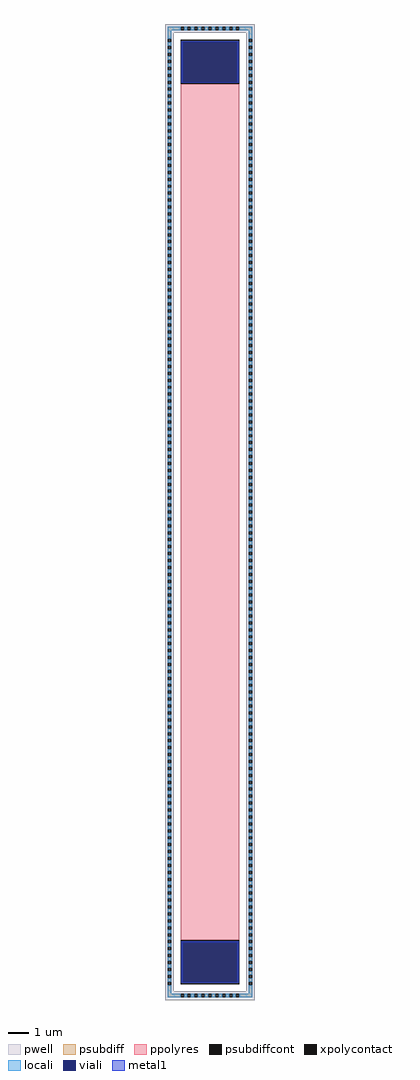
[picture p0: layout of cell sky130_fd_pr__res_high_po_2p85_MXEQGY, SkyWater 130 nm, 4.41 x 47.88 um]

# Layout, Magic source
magic
tech sky130A
magscale 1 2
<< pwell >>
rect -441 4702 441 4788
rect -441 -4702 -355 4702
rect 355 -4702 441 4702
rect -441 -4788 441 -4702
<< psubdiff >>
rect -415 4728 -289 4762
rect -255 4728 -221 4762
rect -187 4728 -153 4762
rect -119 4728 -85 4762
rect -51 4728 -17 4762
rect 17 4728 51 4762
rect 85 4728 119 4762
rect 153 4728 187 4762
rect 221 4728 255 4762
rect 289 4728 415 4762
rect -415 4641 -381 4728
rect 381 4641 415 4728
rect -415 4573 -381 4607
rect -415 4505 -381 4539
rect -415 4437 -381 4471
rect -415 4369 -381 4403
rect -415 4301 -381 4335
rect -415 4233 -381 4267
rect -415 4165 -381 4199
rect -415 4097 -381 4131
rect -415 4029 -381 4063
rect -415 3961 -381 3995
rect -415 3893 -381 3927
rect -415 3825 -381 3859
rect -415 3757 -381 3791
rect -415 3689 -381 3723
rect -415 3621 -381 3655
rect -415 3553 -381 3587
rect -415 3485 -381 3519
rect -415 3417 -381 3451
rect -415 3349 -381 3383
rect -415 3281 -381 3315
rect -415 3213 -381 3247
rect -415 3145 -381 3179
rect -415 3077 -381 3111
rect -415 3009 -381 3043
rect -415 2941 -381 2975
rect -415 2873 -381 2907
rect -415 2805 -381 2839
rect -415 2737 -381 2771
rect -415 2669 -381 2703
rect -415 2601 -381 2635
rect -415 2533 -381 2567
rect -415 2465 -381 2499
rect -415 2397 -381 2431
rect -415 2329 -381 2363
rect -415 2261 -381 2295
rect -415 2193 -381 2227
rect -415 2125 -381 2159
rect -415 2057 -381 2091
rect -415 1989 -381 2023
rect -415 1921 -381 1955
rect -415 1853 -381 1887
rect -415 1785 -381 1819
rect -415 1717 -381 1751
rect -415 1649 -381 1683
rect -415 1581 -381 1615
rect -415 1513 -381 1547
rect -415 1445 -381 1479
rect -415 1377 -381 1411
rect -415 1309 -381 1343
rect -415 1241 -381 1275
rect -415 1173 -381 1207
rect -415 1105 -381 1139
rect -415 1037 -381 1071
rect -415 969 -381 1003
rect -415 901 -381 935
rect -415 833 -381 867
rect -415 765 -381 799
rect -415 697 -381 731
rect -415 629 -381 663
rect -415 561 -381 595
rect -415 493 -381 527
rect -415 425 -381 459
rect -415 357 -381 391
rect -415 289 -381 323
rect -415 221 -381 255
rect -415 153 -381 187
rect -415 85 -381 119
rect -415 17 -381 51
rect -415 -51 -381 -17
rect -415 -119 -381 -85
rect -415 -187 -381 -153
rect -415 -255 -381 -221
rect -415 -323 -381 -289
rect -415 -391 -381 -357
rect -415 -459 -381 -425
rect -415 -527 -381 -493
rect -415 -595 -381 -561
rect -415 -663 -381 -629
rect -415 -731 -381 -697
rect -415 -799 -381 -765
rect -415 -867 -381 -833
rect -415 -935 -381 -901
rect -415 -1003 -381 -969
rect -415 -1071 -381 -1037
rect -415 -1139 -381 -1105
rect -415 -1207 -381 -1173
rect -415 -1275 -381 -1241
rect -415 -1343 -381 -1309
rect -415 -1411 -381 -1377
rect -415 -1479 -381 -1445
rect -415 -1547 -381 -1513
rect -415 -1615 -381 -1581
rect -415 -1683 -381 -1649
rect -415 -1751 -381 -1717
rect -415 -1819 -381 -1785
rect -415 -1887 -381 -1853
rect -415 -1955 -381 -1921
rect -415 -2023 -381 -1989
rect -415 -2091 -381 -2057
rect -415 -2159 -381 -2125
rect -415 -2227 -381 -2193
rect -415 -2295 -381 -2261
rect -415 -2363 -381 -2329
rect -415 -2431 -381 -2397
rect -415 -2499 -381 -2465
rect -415 -2567 -381 -2533
rect -415 -2635 -381 -2601
rect -415 -2703 -381 -2669
rect -415 -2771 -381 -2737
rect -415 -2839 -381 -2805
rect -415 -2907 -381 -2873
rect -415 -2975 -381 -2941
rect -415 -3043 -381 -3009
rect -415 -3111 -381 -3077
rect -415 -3179 -381 -3145
rect -415 -3247 -381 -3213
rect -415 -3315 -381 -3281
rect -415 -3383 -381 -3349
rect -415 -3451 -381 -3417
rect -415 -3519 -381 -3485
rect -415 -3587 -381 -3553
rect -415 -3655 -381 -3621
rect -415 -3723 -381 -3689
rect -415 -3791 -381 -3757
rect -415 -3859 -381 -3825
rect -415 -3927 -381 -3893
rect -415 -3995 -381 -3961
rect -415 -4063 -381 -4029
rect -415 -4131 -381 -4097
rect -415 -4199 -381 -4165
rect -415 -4267 -381 -4233
rect -415 -4335 -381 -4301
rect -415 -4403 -381 -4369
rect -415 -4471 -381 -4437
rect -415 -4539 -381 -4505
rect -415 -4607 -381 -4573
rect 381 4573 415 4607
rect 381 4505 415 4539
rect 381 4437 415 4471
rect 381 4369 415 4403
rect 381 4301 415 4335
rect 381 4233 415 4267
rect 381 4165 415 4199
rect 381 4097 415 4131
rect 381 4029 415 4063
rect 381 3961 415 3995
rect 381 3893 415 3927
rect 381 3825 415 3859
rect 381 3757 415 3791
rect 381 3689 415 3723
rect 381 3621 415 3655
rect 381 3553 415 3587
rect 381 3485 415 3519
rect 381 3417 415 3451
rect 381 3349 415 3383
rect 381 3281 415 3315
rect 381 3213 415 3247
rect 381 3145 415 3179
rect 381 3077 415 3111
rect 381 3009 415 3043
rect 381 2941 415 2975
rect 381 2873 415 2907
rect 381 2805 415 2839
rect 381 2737 415 2771
rect 381 2669 415 2703
rect 381 2601 415 2635
rect 381 2533 415 2567
rect 381 2465 415 2499
rect 381 2397 415 2431
rect 381 2329 415 2363
rect 381 2261 415 2295
rect 381 2193 415 2227
rect 381 2125 415 2159
rect 381 2057 415 2091
rect 381 1989 415 2023
rect 381 1921 415 1955
rect 381 1853 415 1887
rect 381 1785 415 1819
rect 381 1717 415 1751
rect 381 1649 415 1683
rect 381 1581 415 1615
rect 381 1513 415 1547
rect 381 1445 415 1479
rect 381 1377 415 1411
rect 381 1309 415 1343
rect 381 1241 415 1275
rect 381 1173 415 1207
rect 381 1105 415 1139
rect 381 1037 415 1071
rect 381 969 415 1003
rect 381 901 415 935
rect 381 833 415 867
rect 381 765 415 799
rect 381 697 415 731
rect 381 629 415 663
rect 381 561 415 595
rect 381 493 415 527
rect 381 425 415 459
rect 381 357 415 391
rect 381 289 415 323
rect 381 221 415 255
rect 381 153 415 187
rect 381 85 415 119
rect 381 17 415 51
rect 381 -51 415 -17
rect 381 -119 415 -85
rect 381 -187 415 -153
rect 381 -255 415 -221
rect 381 -323 415 -289
rect 381 -391 415 -357
rect 381 -459 415 -425
rect 381 -527 415 -493
rect 381 -595 415 -561
rect 381 -663 415 -629
rect 381 -731 415 -697
rect 381 -799 415 -765
rect 381 -867 415 -833
rect 381 -935 415 -901
rect 381 -1003 415 -969
rect 381 -1071 415 -1037
rect 381 -1139 415 -1105
rect 381 -1207 415 -1173
rect 381 -1275 415 -1241
rect 381 -1343 415 -1309
rect 381 -1411 415 -1377
rect 381 -1479 415 -1445
rect 381 -1547 415 -1513
rect 381 -1615 415 -1581
rect 381 -1683 415 -1649
rect 381 -1751 415 -1717
rect 381 -1819 415 -1785
rect 381 -1887 415 -1853
rect 381 -1955 415 -1921
rect 381 -2023 415 -1989
rect 381 -2091 415 -2057
rect 381 -2159 415 -2125
rect 381 -2227 415 -2193
rect 381 -2295 415 -2261
rect 381 -2363 415 -2329
rect 381 -2431 415 -2397
rect 381 -2499 415 -2465
rect 381 -2567 415 -2533
rect 381 -2635 415 -2601
rect 381 -2703 415 -2669
rect 381 -2771 415 -2737
rect 381 -2839 415 -2805
rect 381 -2907 415 -2873
rect 381 -2975 415 -2941
rect 381 -3043 415 -3009
rect 381 -3111 415 -3077
rect 381 -3179 415 -3145
rect 381 -3247 415 -3213
rect 381 -3315 415 -3281
rect 381 -3383 415 -3349
rect 381 -3451 415 -3417
rect 381 -3519 415 -3485
rect 381 -3587 415 -3553
rect 381 -3655 415 -3621
rect 381 -3723 415 -3689
rect 381 -3791 415 -3757
rect 381 -3859 415 -3825
rect 381 -3927 415 -3893
rect 381 -3995 415 -3961
rect 381 -4063 415 -4029
rect 381 -4131 415 -4097
rect 381 -4199 415 -4165
rect 381 -4267 415 -4233
rect 381 -4335 415 -4301
rect 381 -4403 415 -4369
rect 381 -4471 415 -4437
rect 381 -4539 415 -4505
rect 381 -4607 415 -4573
rect -415 -4728 -381 -4641
rect 381 -4728 415 -4641
rect -415 -4762 -289 -4728
rect -255 -4762 -221 -4728
rect -187 -4762 -153 -4728
rect -119 -4762 -85 -4728
rect -51 -4762 -17 -4728
rect 17 -4762 51 -4728
rect 85 -4762 119 -4728
rect 153 -4762 187 -4728
rect 221 -4762 255 -4728
rect 289 -4762 415 -4728
<< psubdiffcont >>
rect -289 4728 -255 4762
rect -221 4728 -187 4762
rect -153 4728 -119 4762
rect -85 4728 -51 4762
rect -17 4728 17 4762
rect 51 4728 85 4762
rect 119 4728 153 4762
rect 187 4728 221 4762
rect 255 4728 289 4762
rect -415 4607 -381 4641
rect -415 4539 -381 4573
rect -415 4471 -381 4505
rect -415 4403 -381 4437
rect -415 4335 -381 4369
rect -415 4267 -381 4301
rect -415 4199 -381 4233
rect -415 4131 -381 4165
rect -415 4063 -381 4097
rect -415 3995 -381 4029
rect -415 3927 -381 3961
rect -415 3859 -381 3893
rect -415 3791 -381 3825
rect -415 3723 -381 3757
rect -415 3655 -381 3689
rect -415 3587 -381 3621
rect -415 3519 -381 3553
rect -415 3451 -381 3485
rect -415 3383 -381 3417
rect -415 3315 -381 3349
rect -415 3247 -381 3281
rect -415 3179 -381 3213
rect -415 3111 -381 3145
rect -415 3043 -381 3077
rect -415 2975 -381 3009
rect -415 2907 -381 2941
rect -415 2839 -381 2873
rect -415 2771 -381 2805
rect -415 2703 -381 2737
rect -415 2635 -381 2669
rect -415 2567 -381 2601
rect -415 2499 -381 2533
rect -415 2431 -381 2465
rect -415 2363 -381 2397
rect -415 2295 -381 2329
rect -415 2227 -381 2261
rect -415 2159 -381 2193
rect -415 2091 -381 2125
rect -415 2023 -381 2057
rect -415 1955 -381 1989
rect -415 1887 -381 1921
rect -415 1819 -381 1853
rect -415 1751 -381 1785
rect -415 1683 -381 1717
rect -415 1615 -381 1649
rect -415 1547 -381 1581
rect -415 1479 -381 1513
rect -415 1411 -381 1445
rect -415 1343 -381 1377
rect -415 1275 -381 1309
rect -415 1207 -381 1241
rect -415 1139 -381 1173
rect -415 1071 -381 1105
rect -415 1003 -381 1037
rect -415 935 -381 969
rect -415 867 -381 901
rect -415 799 -381 833
rect -415 731 -381 765
rect -415 663 -381 697
rect -415 595 -381 629
rect -415 527 -381 561
rect -415 459 -381 493
rect -415 391 -381 425
rect -415 323 -381 357
rect -415 255 -381 289
rect -415 187 -381 221
rect -415 119 -381 153
rect -415 51 -381 85
rect -415 -17 -381 17
rect -415 -85 -381 -51
rect -415 -153 -381 -119
rect -415 -221 -381 -187
rect -415 -289 -381 -255
rect -415 -357 -381 -323
rect -415 -425 -381 -391
rect -415 -493 -381 -459
rect -415 -561 -381 -527
rect -415 -629 -381 -595
rect -415 -697 -381 -663
rect -415 -765 -381 -731
rect -415 -833 -381 -799
rect -415 -901 -381 -867
rect -415 -969 -381 -935
rect -415 -1037 -381 -1003
rect -415 -1105 -381 -1071
rect -415 -1173 -381 -1139
rect -415 -1241 -381 -1207
rect -415 -1309 -381 -1275
rect -415 -1377 -381 -1343
rect -415 -1445 -381 -1411
rect -415 -1513 -381 -1479
rect -415 -1581 -381 -1547
rect -415 -1649 -381 -1615
rect -415 -1717 -381 -1683
rect -415 -1785 -381 -1751
rect -415 -1853 -381 -1819
rect -415 -1921 -381 -1887
rect -415 -1989 -381 -1955
rect -415 -2057 -381 -2023
rect -415 -2125 -381 -2091
rect -415 -2193 -381 -2159
rect -415 -2261 -381 -2227
rect -415 -2329 -381 -2295
rect -415 -2397 -381 -2363
rect -415 -2465 -381 -2431
rect -415 -2533 -381 -2499
rect -415 -2601 -381 -2567
rect -415 -2669 -381 -2635
rect -415 -2737 -381 -2703
rect -415 -2805 -381 -2771
rect -415 -2873 -381 -2839
rect -415 -2941 -381 -2907
rect -415 -3009 -381 -2975
rect -415 -3077 -381 -3043
rect -415 -3145 -381 -3111
rect -415 -3213 -381 -3179
rect -415 -3281 -381 -3247
rect -415 -3349 -381 -3315
rect -415 -3417 -381 -3383
rect -415 -3485 -381 -3451
rect -415 -3553 -381 -3519
rect -415 -3621 -381 -3587
rect -415 -3689 -381 -3655
rect -415 -3757 -381 -3723
rect -415 -3825 -381 -3791
rect -415 -3893 -381 -3859
rect -415 -3961 -381 -3927
rect -415 -4029 -381 -3995
rect -415 -4097 -381 -4063
rect -415 -4165 -381 -4131
rect -415 -4233 -381 -4199
rect -415 -4301 -381 -4267
rect -415 -4369 -381 -4335
rect -415 -4437 -381 -4403
rect -415 -4505 -381 -4471
rect -415 -4573 -381 -4539
rect -415 -4641 -381 -4607
rect 381 4607 415 4641
rect 381 4539 415 4573
rect 381 4471 415 4505
rect 381 4403 415 4437
rect 381 4335 415 4369
rect 381 4267 415 4301
rect 381 4199 415 4233
rect 381 4131 415 4165
rect 381 4063 415 4097
rect 381 3995 415 4029
rect 381 3927 415 3961
rect 381 3859 415 3893
rect 381 3791 415 3825
rect 381 3723 415 3757
rect 381 3655 415 3689
rect 381 3587 415 3621
rect 381 3519 415 3553
rect 381 3451 415 3485
rect 381 3383 415 3417
rect 381 3315 415 3349
rect 381 3247 415 3281
rect 381 3179 415 3213
rect 381 3111 415 3145
rect 381 3043 415 3077
rect 381 2975 415 3009
rect 381 2907 415 2941
rect 381 2839 415 2873
rect 381 2771 415 2805
rect 381 2703 415 2737
rect 381 2635 415 2669
rect 381 2567 415 2601
rect 381 2499 415 2533
rect 381 2431 415 2465
rect 381 2363 415 2397
rect 381 2295 415 2329
rect 381 2227 415 2261
rect 381 2159 415 2193
rect 381 2091 415 2125
rect 381 2023 415 2057
rect 381 1955 415 1989
rect 381 1887 415 1921
rect 381 1819 415 1853
rect 381 1751 415 1785
rect 381 1683 415 1717
rect 381 1615 415 1649
rect 381 1547 415 1581
rect 381 1479 415 1513
rect 381 1411 415 1445
rect 381 1343 415 1377
rect 381 1275 415 1309
rect 381 1207 415 1241
rect 381 1139 415 1173
rect 381 1071 415 1105
rect 381 1003 415 1037
rect 381 935 415 969
rect 381 867 415 901
rect 381 799 415 833
rect 381 731 415 765
rect 381 663 415 697
rect 381 595 415 629
rect 381 527 415 561
rect 381 459 415 493
rect 381 391 415 425
rect 381 323 415 357
rect 381 255 415 289
rect 381 187 415 221
rect 381 119 415 153
rect 381 51 415 85
rect 381 -17 415 17
rect 381 -85 415 -51
rect 381 -153 415 -119
rect 381 -221 415 -187
rect 381 -289 415 -255
rect 381 -357 415 -323
rect 381 -425 415 -391
rect 381 -493 415 -459
rect 381 -561 415 -527
rect 381 -629 415 -595
rect 381 -697 415 -663
rect 381 -765 415 -731
rect 381 -833 415 -799
rect 381 -901 415 -867
rect 381 -969 415 -935
rect 381 -1037 415 -1003
rect 381 -1105 415 -1071
rect 381 -1173 415 -1139
rect 381 -1241 415 -1207
rect 381 -1309 415 -1275
rect 381 -1377 415 -1343
rect 381 -1445 415 -1411
rect 381 -1513 415 -1479
rect 381 -1581 415 -1547
rect 381 -1649 415 -1615
rect 381 -1717 415 -1683
rect 381 -1785 415 -1751
rect 381 -1853 415 -1819
rect 381 -1921 415 -1887
rect 381 -1989 415 -1955
rect 381 -2057 415 -2023
rect 381 -2125 415 -2091
rect 381 -2193 415 -2159
rect 381 -2261 415 -2227
rect 381 -2329 415 -2295
rect 381 -2397 415 -2363
rect 381 -2465 415 -2431
rect 381 -2533 415 -2499
rect 381 -2601 415 -2567
rect 381 -2669 415 -2635
rect 381 -2737 415 -2703
rect 381 -2805 415 -2771
rect 381 -2873 415 -2839
rect 381 -2941 415 -2907
rect 381 -3009 415 -2975
rect 381 -3077 415 -3043
rect 381 -3145 415 -3111
rect 381 -3213 415 -3179
rect 381 -3281 415 -3247
rect 381 -3349 415 -3315
rect 381 -3417 415 -3383
rect 381 -3485 415 -3451
rect 381 -3553 415 -3519
rect 381 -3621 415 -3587
rect 381 -3689 415 -3655
rect 381 -3757 415 -3723
rect 381 -3825 415 -3791
rect 381 -3893 415 -3859
rect 381 -3961 415 -3927
rect 381 -4029 415 -3995
rect 381 -4097 415 -4063
rect 381 -4165 415 -4131
rect 381 -4233 415 -4199
rect 381 -4301 415 -4267
rect 381 -4369 415 -4335
rect 381 -4437 415 -4403
rect 381 -4505 415 -4471
rect 381 -4573 415 -4539
rect 381 -4641 415 -4607
rect -289 -4762 -255 -4728
rect -221 -4762 -187 -4728
rect -153 -4762 -119 -4728
rect -85 -4762 -51 -4728
rect -17 -4762 17 -4728
rect 51 -4762 85 -4728
rect 119 -4762 153 -4728
rect 187 -4762 221 -4728
rect 255 -4762 289 -4728
<< xpolycontact >>
rect -285 4200 285 4632
rect -285 -4632 285 -4200
<< ppolyres >>
rect -285 -4200 285 4200
<< locali >>
rect -415 4728 -289 4762
rect -255 4728 -221 4762
rect -187 4728 -153 4762
rect -119 4728 -85 4762
rect -51 4728 -17 4762
rect 17 4728 51 4762
rect 85 4728 119 4762
rect 153 4728 187 4762
rect 221 4728 255 4762
rect 289 4728 415 4762
rect -415 4641 -381 4728
rect 381 4641 415 4728
rect -415 4573 -381 4607
rect -415 4505 -381 4539
rect -415 4437 -381 4471
rect -415 4369 -381 4403
rect -415 4301 -381 4335
rect -415 4233 -381 4267
rect 381 4573 415 4607
rect 381 4505 415 4539
rect 381 4437 415 4471
rect 381 4369 415 4403
rect 381 4301 415 4335
rect 381 4233 415 4267
rect -415 4165 -381 4199
rect -415 4097 -381 4131
rect -415 4029 -381 4063
rect -415 3961 -381 3995
rect -415 3893 -381 3927
rect -415 3825 -381 3859
rect -415 3757 -381 3791
rect -415 3689 -381 3723
rect -415 3621 -381 3655
rect -415 3553 -381 3587
rect -415 3485 -381 3519
rect -415 3417 -381 3451
rect -415 3349 -381 3383
rect -415 3281 -381 3315
rect -415 3213 -381 3247
rect -415 3145 -381 3179
rect -415 3077 -381 3111
rect -415 3009 -381 3043
rect -415 2941 -381 2975
rect -415 2873 -381 2907
rect -415 2805 -381 2839
rect -415 2737 -381 2771
rect -415 2669 -381 2703
rect -415 2601 -381 2635
rect -415 2533 -381 2567
rect -415 2465 -381 2499
rect -415 2397 -381 2431
rect -415 2329 -381 2363
rect -415 2261 -381 2295
rect -415 2193 -381 2227
rect -415 2125 -381 2159
rect -415 2057 -381 2091
rect -415 1989 -381 2023
rect -415 1921 -381 1955
rect -415 1853 -381 1887
rect -415 1785 -381 1819
rect -415 1717 -381 1751
rect -415 1649 -381 1683
rect -415 1581 -381 1615
rect -415 1513 -381 1547
rect -415 1445 -381 1479
rect -415 1377 -381 1411
rect -415 1309 -381 1343
rect -415 1241 -381 1275
rect -415 1173 -381 1207
rect -415 1105 -381 1139
rect -415 1037 -381 1071
rect -415 969 -381 1003
rect -415 901 -381 935
rect -415 833 -381 867
rect -415 765 -381 799
rect -415 697 -381 731
rect -415 629 -381 663
rect -415 561 -381 595
rect -415 493 -381 527
rect -415 425 -381 459
rect -415 357 -381 391
rect -415 289 -381 323
rect -415 221 -381 255
rect -415 153 -381 187
rect -415 85 -381 119
rect -415 17 -381 51
rect -415 -51 -381 -17
rect -415 -119 -381 -85
rect -415 -187 -381 -153
rect -415 -255 -381 -221
rect -415 -323 -381 -289
rect -415 -391 -381 -357
rect -415 -459 -381 -425
rect -415 -527 -381 -493
rect -415 -595 -381 -561
rect -415 -663 -381 -629
rect -415 -731 -381 -697
rect -415 -799 -381 -765
rect -415 -867 -381 -833
rect -415 -935 -381 -901
rect -415 -1003 -381 -969
rect -415 -1071 -381 -1037
rect -415 -1139 -381 -1105
rect -415 -1207 -381 -1173
rect -415 -1275 -381 -1241
rect -415 -1343 -381 -1309
rect -415 -1411 -381 -1377
rect -415 -1479 -381 -1445
rect -415 -1547 -381 -1513
rect -415 -1615 -381 -1581
rect -415 -1683 -381 -1649
rect -415 -1751 -381 -1717
rect -415 -1819 -381 -1785
rect -415 -1887 -381 -1853
rect -415 -1955 -381 -1921
rect -415 -2023 -381 -1989
rect -415 -2091 -381 -2057
rect -415 -2159 -381 -2125
rect -415 -2227 -381 -2193
rect -415 -2295 -381 -2261
rect -415 -2363 -381 -2329
rect -415 -2431 -381 -2397
rect -415 -2499 -381 -2465
rect -415 -2567 -381 -2533
rect -415 -2635 -381 -2601
rect -415 -2703 -381 -2669
rect -415 -2771 -381 -2737
rect -415 -2839 -381 -2805
rect -415 -2907 -381 -2873
rect -415 -2975 -381 -2941
rect -415 -3043 -381 -3009
rect -415 -3111 -381 -3077
rect -415 -3179 -381 -3145
rect -415 -3247 -381 -3213
rect -415 -3315 -381 -3281
rect -415 -3383 -381 -3349
rect -415 -3451 -381 -3417
rect -415 -3519 -381 -3485
rect -415 -3587 -381 -3553
rect -415 -3655 -381 -3621
rect -415 -3723 -381 -3689
rect -415 -3791 -381 -3757
rect -415 -3859 -381 -3825
rect -415 -3927 -381 -3893
rect -415 -3995 -381 -3961
rect -415 -4063 -381 -4029
rect -415 -4131 -381 -4097
rect -415 -4199 -381 -4165
rect 381 4165 415 4199
rect 381 4097 415 4131
rect 381 4029 415 4063
rect 381 3961 415 3995
rect 381 3893 415 3927
rect 381 3825 415 3859
rect 381 3757 415 3791
rect 381 3689 415 3723
rect 381 3621 415 3655
rect 381 3553 415 3587
rect 381 3485 415 3519
rect 381 3417 415 3451
rect 381 3349 415 3383
rect 381 3281 415 3315
rect 381 3213 415 3247
rect 381 3145 415 3179
rect 381 3077 415 3111
rect 381 3009 415 3043
rect 381 2941 415 2975
rect 381 2873 415 2907
rect 381 2805 415 2839
rect 381 2737 415 2771
rect 381 2669 415 2703
rect 381 2601 415 2635
rect 381 2533 415 2567
rect 381 2465 415 2499
rect 381 2397 415 2431
rect 381 2329 415 2363
rect 381 2261 415 2295
rect 381 2193 415 2227
rect 381 2125 415 2159
rect 381 2057 415 2091
rect 381 1989 415 2023
rect 381 1921 415 1955
rect 381 1853 415 1887
rect 381 1785 415 1819
rect 381 1717 415 1751
rect 381 1649 415 1683
rect 381 1581 415 1615
rect 381 1513 415 1547
rect 381 1445 415 1479
rect 381 1377 415 1411
rect 381 1309 415 1343
rect 381 1241 415 1275
rect 381 1173 415 1207
rect 381 1105 415 1139
rect 381 1037 415 1071
rect 381 969 415 1003
rect 381 901 415 935
rect 381 833 415 867
rect 381 765 415 799
rect 381 697 415 731
rect 381 629 415 663
rect 381 561 415 595
rect 381 493 415 527
rect 381 425 415 459
rect 381 357 415 391
rect 381 289 415 323
rect 381 221 415 255
rect 381 153 415 187
rect 381 85 415 119
rect 381 17 415 51
rect 381 -51 415 -17
rect 381 -119 415 -85
rect 381 -187 415 -153
rect 381 -255 415 -221
rect 381 -323 415 -289
rect 381 -391 415 -357
rect 381 -459 415 -425
rect 381 -527 415 -493
rect 381 -595 415 -561
rect 381 -663 415 -629
rect 381 -731 415 -697
rect 381 -799 415 -765
rect 381 -867 415 -833
rect 381 -935 415 -901
rect 381 -1003 415 -969
rect 381 -1071 415 -1037
rect 381 -1139 415 -1105
rect 381 -1207 415 -1173
rect 381 -1275 415 -1241
rect 381 -1343 415 -1309
rect 381 -1411 415 -1377
rect 381 -1479 415 -1445
rect 381 -1547 415 -1513
rect 381 -1615 415 -1581
rect 381 -1683 415 -1649
rect 381 -1751 415 -1717
rect 381 -1819 415 -1785
rect 381 -1887 415 -1853
rect 381 -1955 415 -1921
rect 381 -2023 415 -1989
rect 381 -2091 415 -2057
rect 381 -2159 415 -2125
rect 381 -2227 415 -2193
rect 381 -2295 415 -2261
rect 381 -2363 415 -2329
rect 381 -2431 415 -2397
rect 381 -2499 415 -2465
rect 381 -2567 415 -2533
rect 381 -2635 415 -2601
rect 381 -2703 415 -2669
rect 381 -2771 415 -2737
rect 381 -2839 415 -2805
rect 381 -2907 415 -2873
rect 381 -2975 415 -2941
rect 381 -3043 415 -3009
rect 381 -3111 415 -3077
rect 381 -3179 415 -3145
rect 381 -3247 415 -3213
rect 381 -3315 415 -3281
rect 381 -3383 415 -3349
rect 381 -3451 415 -3417
rect 381 -3519 415 -3485
rect 381 -3587 415 -3553
rect 381 -3655 415 -3621
rect 381 -3723 415 -3689
rect 381 -3791 415 -3757
rect 381 -3859 415 -3825
rect 381 -3927 415 -3893
rect 381 -3995 415 -3961
rect 381 -4063 415 -4029
rect 381 -4131 415 -4097
rect 381 -4199 415 -4165
rect -415 -4267 -381 -4233
rect -415 -4335 -381 -4301
rect -415 -4403 -381 -4369
rect -415 -4471 -381 -4437
rect -415 -4539 -381 -4505
rect -415 -4607 -381 -4573
rect 381 -4267 415 -4233
rect 381 -4335 415 -4301
rect 381 -4403 415 -4369
rect 381 -4471 415 -4437
rect 381 -4539 415 -4505
rect 381 -4607 415 -4573
rect -415 -4728 -381 -4641
rect 381 -4728 415 -4641
rect -415 -4762 -289 -4728
rect -255 -4762 -221 -4728
rect -187 -4762 -153 -4728
rect -119 -4762 -85 -4728
rect -51 -4762 -17 -4728
rect 17 -4762 51 -4728
rect 85 -4762 119 -4728
rect 153 -4762 187 -4728
rect 221 -4762 255 -4728
rect 289 -4762 415 -4728
<< viali >>
rect -269 4218 269 4612
rect -269 -4613 269 -4219
<< metal1 >>
rect -281 4612 281 4620
rect -281 4218 -269 4612
rect 269 4218 281 4612
rect -281 4211 281 4218
rect -281 -4219 281 -4211
rect -281 -4613 -269 -4219
rect 269 -4613 281 -4219
rect -281 -4620 281 -4613
<< properties >>
string FIXED_BBOX -398 -4745 398 4745
<< end >>
